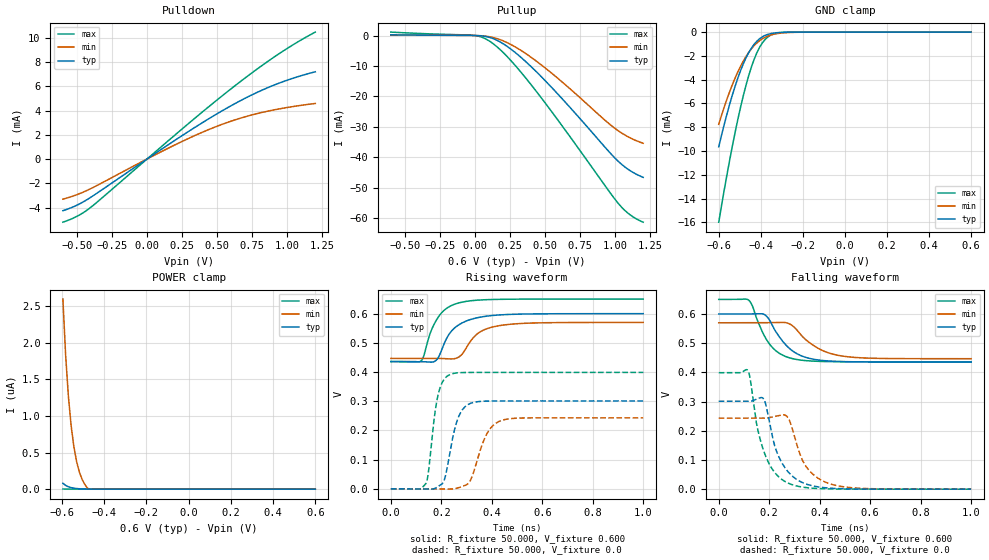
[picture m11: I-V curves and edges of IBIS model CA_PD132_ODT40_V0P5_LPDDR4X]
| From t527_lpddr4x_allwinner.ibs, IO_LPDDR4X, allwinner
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|   Model CA_PD132_ODT40_V0P5_LPDDR4X
[Model] CA_PD132_ODT40_V0P5_LPDDR4X
Model_type 3-state
Polarity   Non-Inverting
Enable   Active-Low
C_comp   1.450pF   1.406pF   1.506pF
C_comp_pulldown   0.774pF   0.745pF   0.808pF
[Temperature Range]   25.000   0.125k   -40.000
[Voltage Range]   0.600V   0.570V   0.650V
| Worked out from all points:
|   slope of the pulldown table from 0 to 0.09 V, typ, clamps not added: 128 ohm
|   slope of the pullup table from 0 to 0.09 V, typ, clamps not added: 198 ohm
|   GND clamp passes 1 mA (typ) near -0.43 V on its own axis
|   rising waveform, R_fixture 50.000, V_fixture 0.600: 20-80 % time 81.8ps typ, 80.7ps min, 67.9ps max; typ from 0.436 V to 0.6 V
|   rising waveform, R_fixture 50.000, V_fixture 0.0: 20-80 % time 45.2ps typ, 59.8ps min, 34.5ps max; typ from 0 V to 0.301 V
|   falling waveform, R_fixture 50.000, V_fixture 0.600: 20-80 % time 92.2ps typ, 111ps min, 78.4ps max; typ from 0.6 V to 0.436 V
|   falling waveform, R_fixture 50.000, V_fixture 0.0: 20-80 % time 75.6ps typ, 80.7ps min, 70ps max; typ from 0.301 V to 0 V
[Pulldown]
|Voltage   I(typ)   I(min)   I(max)
-600mV    -4.265mA   -3.308mA   -5.211mA
-486mV    -3.729mA   -2.88mA    -4.641mA
-391mV    -3.079mA   -2.384mA   -3.889mA
179mV     1.39mA     1.051mA    1.78mA
369mV     2.81mA     2.08mA     3.634mA
521mV     3.878mA    2.799mA    5.073mA
692mV     4.967mA    3.458mA    6.62mA
863mV     5.895mA    3.952mA    8.065mA
1.034V    6.636mA    4.314mA    9.37mA
1.2V      7.196mA    4.583mA    10.47mA
[Pullup]
|Voltage   I(typ)   I(min)   I(max)
-600mV    213.8uA    167.3uA    1.124mA
3mV       -3.94uA    -3.607uA   -19.46uA
60mV      -193.1uA   -141.5uA   -752.2uA
136mV     -1.136mA   -729.4uA   -2.911mA
193mV     -2.48mA    -1.6mA     -5.221mA
269mV     -4.918mA   -3.281mA   -8.89mA
440mV     -12mA      -8.5mA     -18.5mA
630mV     -21.19mA   -15.6mA    -30.21mA
934mV     -37.05mA   -28.12mA   -49.75mA
1.029V    -41.65mA   -31.53mA   -55.56mA
1.105V    -44.37mA   -33.6mA    -58.88mA
1.2V      -46.62mA   -35.42mA   -61.36mA
[GND_clamp]
|Voltage   I(typ)   I(min)   I(max)
-600mV    -9.644mA   -7.752mA   -15.98mA
-561mV    -6.898mA   -5.638mA   -12mA
-535mV    -5.279mA   -4.412mA   -9.563mA
-496mV    -3.229mA   -2.867mA   -6.297mA
-470mV    -2.153mA   -2.045mA   -4.442mA
-444mV    -1.329mA   -1.392mA   -2.9mA
-418mV    -752.5uA   -901.8uA   -1.711mA
-392mV    -391.1uA   -557uA     -889.9uA
-366mV    -189.2uA   -330uA     -401.7uA
-327mV    -58.41uA   -142.5uA   -97.15uA
-275mV    -11.42uA   -44.79uA   -11.99uA
600mV     -16.35nA   -581.7nA   -535.2pA
[POWER_clamp]
|Voltage   I(typ)   I(min)   I(max)
-596mV    80.24nA    2.593uA    2.718nA
-583mV    51.63nA    1.826uA    1.847nA
-570mV    33.07nA    1.268uA    1.343nA
-557mV    21.08nA    866.5nA    1.05nA
-544mV    13.38nA    579.1nA    877.6pA
-531mV    8.477nA    375.9nA    774.8pA
-518mV    5.384nA    233.6nA    709.6pA
-505mV    3.415nA    134.1nA    663.1pA
-492mV    2.097nA    63.17nA    625.9pA
-479mV    1.133nA    10.39nA    594.1pA
-466mV    364.7pA    0A         566pA
600mV     0A         0A         0A
[Ramp]
| variable   typ   min   max
dV/dt_r   0.181/45.297p   0.146/59.870p   0.239/34.725p
dV/dt_f   98.612m/92.259p   73.858m/0.111n   0.128/78.421p
R_load = 50.000
[Rising Waveform]
R_fixture= 50.000
V_fixture= 0.600
V_fixture_min= 0.570
V_fixture_max= 0.650
|time   V(typ)   V(min)   V(max)
0s        435.6mV    446.9mV    436.2mV
119ps     435.6mV    446.9mV    437.5mV
130ps     435.6mV    446.9mV    453.6mV
159ps     433.9mV    446.9mV    539.7mV
187ps     448mV      447mV      587mV
229ps     527.1mV    445.1mV    622.7mV
273ps     563.8mV    453.6mV    637.6mV
343ps     586.2mV    531.1mV    646.2mV
424ps     595.3mV    558.1mV    649mV
1ns       600mV      570mV      650mV
[Rising Waveform]
R_fixture= 50.000
V_fixture= 0.0
V_fixture_min= 0.0
V_fixture_max= 0.0
|time   V(typ)   V(min)   V(max)
0s        3.209uV    75.68uV    235.7nV
140ps     -289.2uV   81.81uV    20.12mV
186ps     7.413mV    178.9uV    316.7mV
211ps     28.42mV    -348uV     375mV
233ps     119mV      -643.6uV   391mV
261ps     229.1mV    2.055mV    397mV
291ps     278.6mV    10.93mV    398.5mV
383ps     300.7mV    192.3mV    398.9mV
435ps     301.1mV    233.1mV    398.9mV
1ns       301.2mV    243.2mV    398.9mV
[Falling Waveform]
R_fixture= 50.000
V_fixture= 0.600
V_fixture_min= 0.570
V_fixture_max= 0.650
|time   V(typ)   V(min)   V(max)
0s        600mV      570mV      650mV
119ps     600mV      570mV      647.3mV
133ps     600.6mV    570mV      628.6mV
174ps     600.6mV    570mV      536.9mV
200ps     580.9mV    570.6mV    498.6mV
244ps     517.4mV    571.2mV    463.4mV
290ps     475.2mV    561.3mV    447.6mV
380ps     444.4mV    489.7mV    438.4mV
479ps     437.3mV    457.5mV    436.6mV
1ns       435.6mV    446.9mV    436.2mV
[Falling Waveform]
R_fixture= 50.000
V_fixture= 0.0
V_fixture_min= 0.0
V_fixture_max= 0.0
|time   V(typ)   V(min)   V(max)
0s        301.2mV    243.2mV    398.9mV
116ps     301.2mV    243.2mV    405.9mV
126ps     301.1mV    243.2mV    370.7mV
151ps     308.8mV    243.3mV    219.3mV
179ps     307.4mV    243.2mV    128.8mV
225ps     139.7mV    249.6mV    53.7mV
274ps     60.34mV    245.2mV    21.14mV
339ps     19.88mV    87.2mV     6.147mV
428ps     4.348mV    22.16mV    1.134mV
1ns       3.46uV     79.11uV    259.6nV
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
